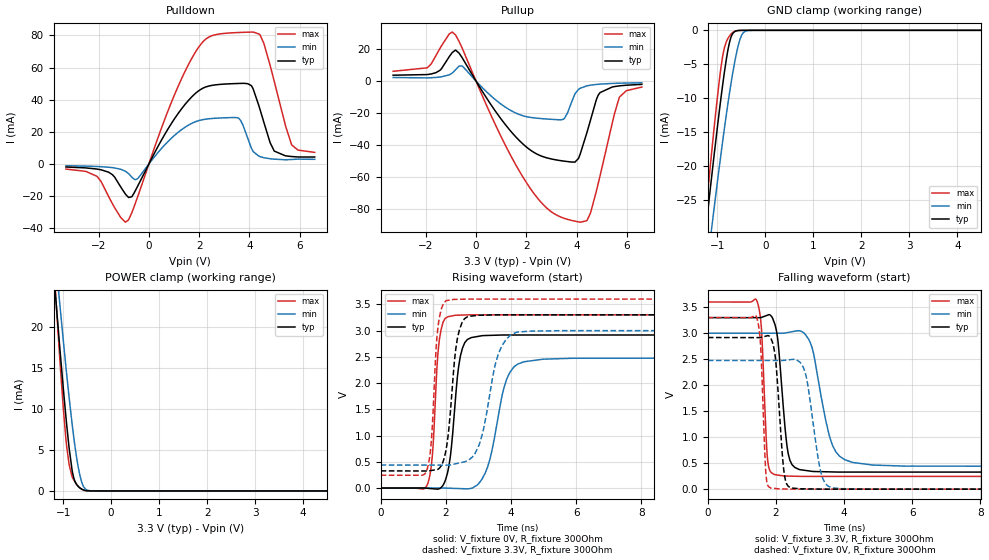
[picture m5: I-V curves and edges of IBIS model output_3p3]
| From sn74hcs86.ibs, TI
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|   output_3p3 Model
[Model]   output_3p3
Model_type   Output
Polarity   Non-Inverting
Vmeas = 1.65
Vref = 0
Cref = 2pF
Rref = 100000
|   typ   min   max
C_comp   0.878pF   0.839pF   0.891pF
| Where Nom  PVT is Nominal Process, 3.3V, 27C
|   Fast PVT is Strong Process,  3.6V, -55C
|   Slow PVT is Weak Process,   3.0V, 150C
[Voltage Range]   3.3   3   3.6
|Junction Temperature
[Temperature Range]   27   150   -55
[Pullup Reference]   3.3   3   3.6
[Pulldown Reference]   0   0   0
[Power Clamp Reference]   3.3   3   3.6
[GND Clamp Reference]   0   0   0
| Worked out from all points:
|   slope of the pulldown table from 0 to 0.495 V, typ, clamps not added: 33.8 ohm
|   slope of the pullup table from 0 to 0.495 V, typ, clamps not added: 39.9 ohm
|   GND clamp passes 1 mA (typ) near -0.72 V on its own axis
|   POWER clamp passes 1 mA (typ) near -0.74 V on its own axis
|   falling waveform, V_fixture 3.3V, R_fixture 300Ohm: 20-80 % time 227ps typ, 464ps min, 131ps max; typ from 3.3 V to 0.328 V
|   rising waveform, V_fixture 0V, R_fixture 300Ohm: 20-80 % time 265ps typ, 493ps min, 178ps max; typ from 0 V to 2.92 V
|   rising waveform, V_fixture 3.3V, R_fixture 300Ohm: 20-80 % time 265ps typ, 494ps min, 179ps max; typ from 0.328 V to 3.3 V
|   falling waveform, V_fixture 0V, R_fixture 300Ohm: 20-80 % time 186ps typ, 325ps min, 116ps max; typ from 2.92 V to 0 V
[Pulldown]
|   Voltage   I(typ)   I(min)   I(max)
-3.3V     -1.874mA   -1.09mA    -3.153mA
-2.072V   -3.148mA   -1.553mA   -7.616mA
-815.1mV  -20.76mA   -5.906mA   -34.91mA
-468.6mV  -14.47mA   -9.363mA   -21.34mA
1.719V    41.96mA    25.37mA    66.07mA
3.244V    49.91mA    28.86mA    81.54mA
3.66V     50.14mA    26.88mA    81.86mA
4.075V    48.79mA    10.04mA    82.07mA
4.422V    33.99mA    4.608mA    80.33mA
4.986V    8.151mA    3.011mA    51.62mA
5.679V    4.642mA    2.795mA    12.07mA
6.6V      4.33mA     2.888mA    7.224mA
[GND Clamp]
|   Voltage   I(typ)   I(min)   I(max)
-3.3V     -170.7mA   -164.8mA   -192.4mA
-1.27V    -31.2mA    -38.03mA   -29.01mA
-1.122V   -21.71mA   -29.31mA   -18.11mA
-1.073V   -18.63mA   -26.46mA   -14.64mA
-983.4mV  -13.27mA   -21.43mA   -8.78mA
-894.3mV  -8.237mA   -16.57mA   -3.969mA
-815.1mV  -4.303mA   -12.46mA   -1.69mA
-755.7mV  -2.013mA   -9.587mA   -907.2uA
-636.9mV  -174.3uA   -4.574mA   -135.1uA
-498.3mV  -6.151uA   -766.4uA   -3.251uA
-339.9mV  -43.96nA   -15.79uA   0A
6.6V      0A         0A         0A
[Pullup]
|   Voltage   I(typ)   I(min)   I(max)
-3.3V     3.687mA    2.24mA     6.129mA
-1.934V   4.09mA     2.002mA    8.387mA
-943.8mV  17.91mA    5.04mA     30.66mA
-557.7mV  14.76mA    9.463mA    20.86mA
927.3mV   -22.25mA   -13.6mA    -32.5mA
2.086V    -42.26mA   -22.51mA   -65.45mA
3.472V    -50.02mA   -23.91mA   -85.67mA
4.155V    -45.23mA   -4.427mA   -88.3mA
4.551V    -24.71mA   -2.556mA   -82.73mA
4.867V    -8.715mA   -1.979mA   -63.8mA
5.699V    -3.005mA   -1.33mA    -10.31mA
6.6V      -2.065mA   -1.063mA   -3.741mA
[POWER Clamp]
|   Voltage   I(typ)   I(min)   I(max)
-3.3V     211.7mA    184.7mA    283.2mA
-1.152V   23.34mA    28mA       23.6mA
-1.073V   17.7mA     23.01mA    16.41mA
-993.3mV  12.31mA    18.17mA    9.859mA
-943.8mV  9.149mA    15.25mA    6.453mA
-874.5mV  5.196mA    11.36mA    3.199mA
-815.1mV  2.61mA     8.282mA    1.781mA
-765.6mV  1.349mA    5.972mA    1.216mA
-666.6mV  440uA      2.342mA    466.4uA
-577.5mV  123.3uA    563.4uA    104.5uA
-290.4mV  398.2nA    738.5nA    0A
6.6V      0A         0A         0A
[Ramp]
R_load = 300
|   typ   min   max
dV/dt_r   1.74981/2.62998e-10   1.48539/4.87639e-10   1.9797/1.77055e-10
dV/dt_f   1.78348/2.27314e-10   1.53673/4.63991e-10   2.013/1.30288e-10
[Falling Waveform]
V_fixture = 3.3V
V_fixture_min = 3V
V_fixture_max = 3.6V
R_fixture = 300Ohm
C_fixture = 0F
|   Time   V(typ)   V(min)   V(max)
0s        3.3V       3V         3.6V
1.449ns   3.298V     2.999V     3.609V
1.573ns   3.303V     2.999V     3.109V
1.758ns   3.347V     2.999V     554.7mV
1.959ns   3.189V     2.999V     281.1mV
2.355ns   706.5mV    3.014V     251.6mV
2.682ns   379mV      3.047V     246.8mV
3.663ns   331.4mV    842.4mV    245.5mV
4.224ns   328.6mV    519.7mV    245.5mV
15ns      327.5mV    438.8mV    245mV
[Rising Waveform]
V_fixture = 0V
V_fixture_min = 0V
V_fixture_max = 0V
R_fixture = 300Ohm
C_fixture = 0F
|   Time   V(typ)   V(min)   V(max)
0s        6.739uV    10.26uV    3.594uV
1.436ns   -4.159mV   720.3uV    70.57mV
1.59ns    -12.54mV   796.4uV    647.7mV
1.796ns   -12.7mV    898.1uV    2.796V
2.066ns   327.8mV    -2.078mV   3.263V
2.438ns   2.485V     -10.21mV   3.294V
2.782ns   2.866V     -4.546mV   3.299V
3.884ns   2.915V     2.096V     3.299V
4.38ns    2.915V     2.403V     3.299V
15ns      2.916V     2.476V     3.3V
[Rising Waveform]
V_fixture = 3.3V
V_fixture_min = 3V
V_fixture_max = 3.6V
R_fixture = 300Ohm
C_fixture = 0F
|   Time   V(typ)   V(min)   V(max)
0s        327.5mV    438.8mV    245mV
1.413ns   325mV      437.6mV    334.2mV
1.562ns   336.3mV    437.5mV    952.9mV
1.752ns   356.4mV    437.3mV    3.029V
2.012ns   749.1mV    437.1mV    3.57V
2.35ns    2.828V     469.4mV    3.595V
2.674ns   3.267V     526.7mV    3.6V
3.625ns   3.299V     2.574V     3.6V
4.156ns   3.299V     2.965V     3.6V
15ns      3.3V       3V         3.6V
[Falling Waveform]
|Gnd
V_fixture = 0V
V_fixture_min = 0V
V_fixture_max = 0V
R_fixture = 300Ohm
C_fixture = 0F
|   Time   V(typ)   V(min)   V(max)
0s        2.916V     2.476V     3.3V
1.436ns   2.915V     2.475V     3.301V
1.552ns   2.916V     2.475V     2.742V
1.709ns   2.944V     2.475V     274mV
1.844ns   2.912V     2.475V     23.14mV
2.241ns   314.3mV    2.478V     3.738mV
2.445ns   24.52mV    2.493V     1.817mV
2.859ns   5.535mV    2.243V     310.2uV
3.637ns   619.7uV    27.93mV    290.5uV
15ns      6.964uV    10.56uV    3.715uV
